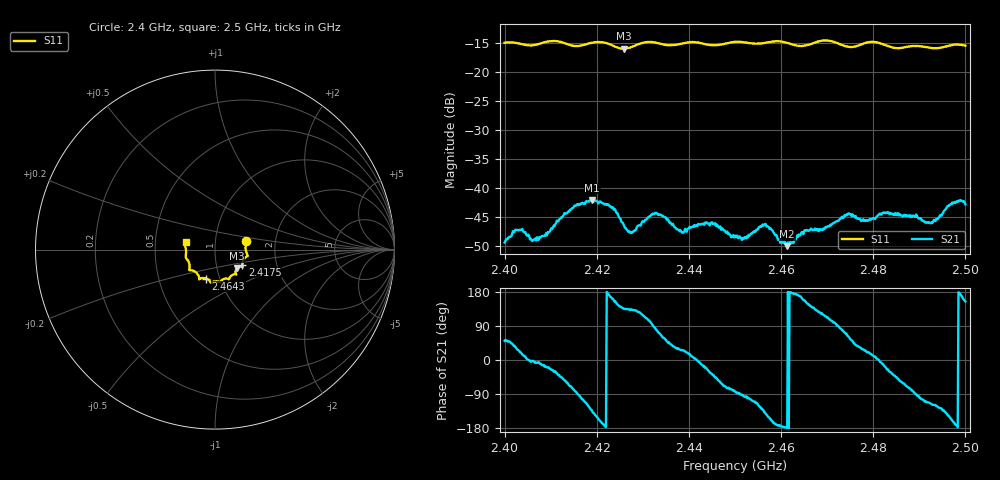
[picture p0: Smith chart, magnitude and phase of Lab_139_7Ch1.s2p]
# Hz S RI R 50
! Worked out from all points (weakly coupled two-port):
!   601 points, 2.4 GHz to 2.5 GHz, reference 50 ohm
!   highest |S21| = -42.04 dB at 2.419 GHz (marker M1); lowest = -50.0 dB at 2.4613 GHz (marker M2)
!   lowest |S11| = -15.9 dB at 2.4258 GHz (marker M3), VSWR 1.38, Z = 62.3 - j13.2 ohm
!   |S11| at or under -10 dB: start of sweep to end of sweep
!   S12 and S22 are empty: the file has one direction only
!   S11 on the Smith chart (normalised r, x): 2.4 GHz: 1.41, +0.14; 2.4175 GHz: 1.34, -0.23; 2.4643 GHz: 0.86, -0.29; 2.5 GHz: 0.72, +0.06
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2.4e9  0.173 0.0487  0.00214 0.00262  0 0  0 0
2.402833e9  0.1746 0.0355  0.00387 0.00199  0 0  0 0
2.408667e9  0.1799 -0.0264  0.00371 -0.00118  0 0  0 0
2.416667e9  0.1533 -0.074  -0.00139 -0.00722  0 0  0 0
2.4175e9  0.1522 -0.0836  -0.00271 -0.00683  0 0  0 0
2.419e9  0.1529 -0.0951  -0.00559 -0.00559  0 0  0 0
2.4235e9  0.1413 -0.0943  -0.0065 0.00216  0 0  0 0
2.425833e9  0.1216 -0.1032  -0.00347 0.00335  0 0  0 0
2.427667e9  0.1147 -0.12  -0.00275 0.00306  0 0  0 0
2.433333e9  0.1133 -0.1371  0.00175 0.00561  0 0  0 0
2.438333e9  0.0815 -0.1559  0.0038 0.00184  0 0  0 0
2.445167e9  0.0544 -0.162  0.00376 -0.00315  0 0  0 0
2.45e9  0.0288 -0.1809  0.000449 -0.00381  0 0  0 0
2.456333e9  -0.00871 -0.1787  -0.00354 -0.00323  0 0  0 0
2.461333e9  -0.0277 -0.1771  -0.00315 -0.000137  0 0  0 0
2.464333e9  -0.0499 -0.1611  -0.00395 0.000975  0 0  0 0
2.466667e9  -0.0759 -0.1593  -0.00335 0.00287  0 0  0 0
2.474333e9  -0.1 -0.1328  0.00249 0.00528  0 0  0 0
2.483333e9  -0.1412 -0.0901  0.00541 -0.00286  0 0  0 0
2.492333e9  -0.1613 -0.0218  -0.00204 -0.00456  0 0  0 0
2.497167e9  -0.1697 0.0278  -0.0071 -0.00248  0 0  0 0
2.5e9  -0.1641 0.0429  -0.00653 0.00312  0 0  0 0
